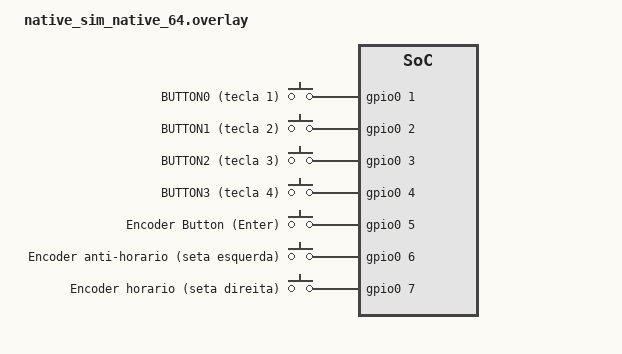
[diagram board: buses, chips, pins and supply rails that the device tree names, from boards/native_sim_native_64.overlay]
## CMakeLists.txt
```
# Aplicação Vitrolinha.
#
# Compilar:  scripts/build.sh
#     ou:    west build -b zbook@p2/rp2350b/m33

cmake_minimum_required(VERSION 3.20.0)

# ----------------------------------------------------------------------------
# Alvos de compilação suportados.
#
# Dois, de propósito:
#
#   zbook@p2/rp2350b/m33   a placa
#   native_sim             o simulador, com OLED em janela SDL e botões no
#                          teclado, para as trilhas de interface e de
#                          armazenamento não ficarem na fila do hardware
#
# A ZBook exige o sufixo @p2, e essa é a armadilha central do projeto: o
# board.yml declara `default: p2`, mas o campo é ignorado em placas de formato
# `custom` e o revision.cmake recai em `p1`. Um binário para P1 sai sem
# encoder, sem display e com conflitos de pino — e, num projeto sem overlay
# próprio, sairia sem erro nenhum.
#
# A verificação é feita duas vezes:
#
#  - Aqui, antes do find_package, sobre a string do alvo. É o único ponto em
#    que ainda dá para emitir mensagem útil: o overlay da placa referencia nós
#    que só existem no P2, e um alvo errado morreria lá dentro com erro de dtc
#    sobre rótulo inexistente.
#  - Abaixo, depois do find_package, sobre BOARD_REVISION já interpretada.
#
# Em src/board_zbook.h há ainda uma terceira, por BUILD_ASSERT.
# ----------------------------------------------------------------------------
set(vitrolinha_board_hint "${BOARD}")
if(NOT vitrolinha_board_hint)
  set(vitrolinha_board_hint "$ENV{BOARD}")
endif()

if(vitrolinha_board_hint
   AND NOT "${vitrolinha_board_hint}" MATCHES "^zbook@p2(/|$)"
   AND NOT "${vitrolinha_board_hint}" STREQUAL "native_sim/native/64")
  message(FATAL_ERROR
    "Alvo inválido: '${vitrolinha_board_hint}'.\n"
    "O Vitrolinha compila para dois alvos, e só para estes dois:\n"
    "    west build -b zbook@p2/rp2350b/m33   (a placa)\n"
    "    west build -b native_sim/native/64   (o simulador)\n"
    "\n"
    "Na ZBook, o sufixo @p2 é obrigatório: sem ele o encoder, o display e o "
    "card-detect não existem no devicetree, e o board.yml da placa não supre "
    "o padrão.\n"
    "\n"
    "No simulador, a variante /native/64 também é obrigatória, por dois "
    "motivos: o nome dos arquivos em boards/ tem de casar com a string de "
    "build, e o native_sim de 32 bits exigiria a SDL em i386.")
endif()

# ----------------------------------------------------------------------------
# O app.overlay vale para os dois alvos.
#
# Sem esta linha ele nunca seria lido: quando existe boards/<alvo>.overlay, o
# build usa a sobreposição da placa OU o app.overlay, nunca os dois — e os
# dois alvos têm a sua. O que é comum aos dois, como a ponte entre o
# subsistema `input` e o encoder do LVGL, sumiria sem erro nenhum.
# ----------------------------------------------------------------------------
list(APPEND EXTRA_DTC_OVERLAY_FILE ${CMAKE_CURRENT_SOURCE_DIR}/app.overlay)

find_package(Zephyr REQUIRED HINTS $ENV{ZEPHYR_BASE})

# A versão não fica aqui: o Zephyr a lê do arquivo VERSION na raiz e gera
# <app_version.h>, que é como o firmware a imprime no console. Declará-la
# também em project() criaria duas fontes para o mesmo número.
project(vitrolinha
        DESCRIPTION "Tocador de músicas embarcado sobre Zephyr RTOS"
        LANGUAGES C)

if("${BOARD}" STREQUAL "zbook" AND NOT "${BOARD_REVISION}" STREQUAL "p2")
  message(FATAL_ERROR
    "Revisão de placa inválida: BOARD_REVISION='${BOARD_REVISION}'.\n"
    "Compile com: west build -b zbook@p2/rp2350b/m33")
endif()

# Módulos do projeto. A lista de fontes e o diretório de cabeçalhos moram em
# src/CMakeLists.txt, de onde os testes unitários também os consomem.
add_subdirectory(src)

# O ponto de entrada fica de fora daquela lista: os testes trazem os módulos
# sem trazer um segundo main().
target_sources(app PRIVATE src/main.c)
```

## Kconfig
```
# Kconfig da aplicação: as opções do projeto e, depois delas, as do Zephyr.

rsource "Kconfig.vitrolinha"

source "Kconfig.zephyr"
```

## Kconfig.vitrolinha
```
# Opções próprias do Vitrolinha.
#
# Separadas do Kconfig da raiz para que os testes possam incluí-las sem
# incluir uma segunda vez o Kconfig.zephyr: o teste que precisa de uma opção
# daqui tem um Kconfig de duas linhas que faz `rsource` deste arquivo.

menu "Vitrolinha"

choice VITROLINHA_STORAGE
	prompt "Origem da biblioteca"
	default VITROLINHA_STORAGE_FAKE if BOARD_NATIVE_SIM
	default VITROLINHA_STORAGE_CARD
	help
	  Quem responde ao contrato de include/vitrolinha/storage.h.

	  Na placa é o cartão. No simulador é a implementação de mentira: lá
	  não há disco registrado, o cartão é sempre "ausente", e sem as faixas
	  embutidas as trilhas de áudio e de interface ficariam sem biblioteca
	  para tocar e desenhar.

config VITROLINHA_STORAGE_CARD
	bool "Cartao microSD"
	depends on FAT_FILESYSTEM_ELM
	help
	  Varre as faixas da raiz do volume montado pelo módulo card: RTTTL
	  em .TXT, .RTX e .RTT, e CSV em .CSV. O nome exibido do RTTTL sai
	  do cabeçalho; o do CSV é o do arquivo, sem a extensão. Ver
	  src/storage.c.

config VITROLINHA_STORAGE_FAKE
	bool "Faixas embutidas no binario (implementacao de mentira)"
	help
	  Duas faixas RTTTL embutidas, sem cartão e sem sistema de arquivos.
	  Ver src/storage_fake.c.

config VITROLINHA_STORAGE_HOST
	bool "Faixas de uma pasta do computador"
	depends on BOARD_NATIVE_SIM && EXTERNAL_LIBC
	help
	  Lista as faixas da pasta em VITROLINHA_MUSIC_DIR, ou de
	  fixtures/music relativo ao diretório de execução, pela libc do
	  computador. Só existe no simulador. Ver src/storage_host.c.

endchoice

config VITROLINHA_TRANSPOSE_MIN_HZ
	int "Limiar da transposição por oitavas, em Hz (0 desliga)"
	range 0 20000
	default 0
	help
	  Um piezo é fraco abaixo de algumas centenas de hertz: as notas
	  graves saem mais baixas, e a melodia, com volume irregular. Com o
	  limiar ligado, o parser RTTTL sobe a faixa inteira em oitavas
	  completas até a nota mais grave alcançá-lo, preservando os
	  intervalos, e sem que a mais aguda passe do que o buzzer toca.

	  Desligado até a etapa E1 medir a resposta do piezo da placa: o
	  limiar sai dessa medição, e não de estimativa. O CSV nunca é
	  transposto, porque o arquivo de calibração tem de tocar o que diz.

config VITROLINHA_PLAYER
	bool
	default y
	depends on POLL
	depends on PWM || (BOARD_NATIVE_SIM && EXTERNAL_LIBC)
	help
	  Liga o player e o loader. Sem prompt: é ligado sozinho onde os
	  dois podem existir, e é a única condição que decide isso — o
	  src/CMakeLists.txt compila player.c e loader.c por ela, e o
	  src/main.c põe a reprodução de pé por ela.

	  Exige uma saída de tom: o PWM (na placa, o buzzer; em
	  tests/tone_pwm/, o PWM de mentira do Zephyr) ou, no simulador com
	  a libc do computador, a captura em memória do tone_trace. Exige
	  também `CONFIG_POLL`: o player espera comando e resultado de carga
	  num mesmo `k_poll`.

	  Um teste só a enxerga se o Kconfig dele fizer `rsource` deste
	  arquivo; sem isso o player fica fora do build dele.

config VITROLINHA_DISPLAY_FPS_TEST
	bool "Teste de desempenho do display no lugar da interface"
	depends on LVGL
	help
	  Troca as duas telas por uma demonstração que invalida a tela
	  inteira a cada 100 ms e registra no log a taxa de flushes por
	  segundo. Mede o pior caso do barramento I2C do OLED, o quadro
	  cheio de 1024 bytes, e não o desenho por região suja da interface
	  de verdade.

	  Só para bancada: com a opção ligada não há biblioteca nem
	  reprodução na tela. Ver src/display_fps_test.c.

	  Ligar sem editar arquivo nenhum:
	  scripts/build.sh --pristine -- -DCONFIG_VITROLINHA_DISPLAY_FPS_TEST=y

config VITROLINHA_AUTO_ADVANCE
	bool "Avanco automatico para a faixa seguinte (RF09)"
	default y
	help
	  No fim da faixa, em vez de parar, o player carrega a faixa
	  seguinte da biblioteca, pulando as marcadas com `!`.

	  O avanço segue a ordem da lista e para na última faixa válida: não
	  dá a volta. Com uma única faixa válida, ela toca uma vez e para.
	  Com o cartão fora não há vizinha, e a faixa em RAM termina e para.

	  Quem detecta o fim é o callback do temporizador, em interrupção;
	  ele só sinaliza, e quem pede a carga é a thread `player`. Ver
	  src/player.c.

config VITROLINHA_LAST_TRACK
	bool "Lembrar a ultima faixa entre reinicializacoes (RF10)"
	depends on SETTINGS
	default y
	help
	  Grava a última faixa escolhida pelo subsistema `settings`, na
	  flash interna — nunca no cartão, cujo caminho de escrita no
	  sdhc_spi tem um laço de espera sem teto. No boot, com a biblioteca
	  pronta, a faixa volta como seleção, sem tocar.

	  A gravação mora numa thread de prioridade mínima, com debounce, e
	  só acontece com o player fora de PLAYER_PLAYING: no RP2350 o
	  driver de flash trava as interrupções durante a escrita, o que
	  atrasaria a próxima nota. Ver src/last_track.c.

config VITROLINHA_STATUS_LED
	bool "Estado da reproducao nos LEDs RGB (RF11)"
	depends on LED_STRIP
	default y if $(dt_alias_enabled,led-strip)
	help
	  Pinta a fita do alias `led-strip` — na ZBook P2, os quatro WS2812
	  do GPIO 31, via PIO1 — com o estado do instantâneo: verde tocando,
	  âmbar pausado, vermelho com erro de carga ou sem biblioteca, e
	  apagado parado. Lê o instantâneo a taxa fixa numa thread de baixa
	  prioridade; nada no callback do temporizador. Ver src/status_led.c.

endmenu
```

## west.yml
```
# Manifesto west do Vitrolinha (topologia T2: este repositório é o manifesto).
#
# Layout resultante do workspace:
#
#   vitrolinha-ws/          <- topdir do west
#   ├── .west/
#   ├── vitrolinha/         <- este repositório
#   ├── zephyr/
#   └── modules/
#
# Montagem numa máquina limpa: ver README.md.

manifest:
  self:
    path: vitrolinha

  remotes:
    - name: upstream
      url-base: https://github.com/zephyrproject-rtos
    - name: zephyr-book
      url-base: https://github.com/zephyr-book

  projects:
    # Revisão fixada numa tag, não em `main`: o mesmo commit deste repositório
    # tem de reproduzir o mesmo binário daqui a seis meses.
    - name: zephyr
      remote: upstream
      revision: v4.4.2
      import:
        # Sem a lista, o `west update` baixa ~90 módulos (vários GB). Aqui
        # ficam só os que este alvo realmente usa.
        name-allowlist:
          # HAL do RP2350B. `CONFIG_PWM_RPI_PICO` faz `select PICOSDK_USE_PWM`,
          # que vem daqui.
          - hal_rpi_pico
          # CMSIS 6 é o que `modules/cmsis_6/CMakeLists.txt` compila para
          # `CONFIG_CPU_CORTEX_M`; o módulo `cmsis` (5) só atende Cortex-A/R.
          - cmsis_6
          # Biblioteca C padrão do Zephyr 4.x.
          - picolibc
          # Interface gráfica no OLED.
          - lvgl
          # Obrigatório mesmo sem cartão: o defconfig da placa liga
          # CONFIG_FAT_FILESYSTEM_ELM incondicionalmente.
          - fatfs
          # Referenciado pelo nó `zephyr,fstab` da placa.
          - littlefs

    # Placa fora da árvore. O `zephyr/module.yml` dela define board_root e
    # snippet_root, então o alvo zbook@p2/rp2350b/m33 é descoberto sozinho —
    # não é preciso passar BOARD_ROOT.
    - name: zbook
      remote: zephyr-book
      revision: main
      path: modules/boards/zbook
```

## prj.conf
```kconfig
# Configuração comum aos dois alvos de compilação.
#
# O que é específico de cada um mora em boards/: a ZBook P2 em
# boards/zbook_rp2350b_m33_p2.conf, o simulador em
# boards/native_sim_native_64.conf. Aqui fica o que vale para os dois — a interface gráfica, a temporização e
# o diagnóstico, que são justamente as partes que se quer poder exercitar
# sem a placa.
#
# Uma opção deste arquivo quebra o projeto EM SILÊNCIO se omitida; está
# marcada com "SILENCIOSO" no comentário.

# ----------------------------------------------------------------------------
# Entrada e saída comuns
# ----------------------------------------------------------------------------
CONFIG_INPUT=y
CONFIG_INPUT_GPIO_KEYS=y

CONFIG_DISPLAY=y

# ----------------------------------------------------------------------------
# Cartão e sistema de arquivos
# ----------------------------------------------------------------------------

# A pilha de disco vem do defconfig da ZBook, mas não do simulador. Declarada
# aqui porque o módulo `card` monta o mesmo volume "SD" nos dois alvos, com o
# mesmo código — o que difere é de onde o disco aparece, e isso está em
# boards/.
CONFIG_DISK_ACCESS=y
CONFIG_FILE_SYSTEM=y
CONFIG_FAT_FILESYSTEM_ELM=y

# SILENCIOSO E DESTRUTIVO: o padrão do Zephyr é `y`. Com ele ligado, um cartão
# que não monta é FORMATADO pelo próprio `fs_mount` — "Note: This option is
# destructive to data and will automatically destroy your disk, if mount
# attempt fails", diz o texto de ajuda da própria opção. Um cartão com a
# partição levemente danificada entraria na placa com a biblioteca do usuário
# e sairia vazio, sem erro nenhum.
#
# A aplicação nunca formata cartão: a biblioteca é do usuário. O módulo `card`
# ainda passa FS_MOUNT_FLAG_NO_FORMAT na montagem, para que religar esta opção
# por engano não rearme a bomba.
CONFIG_FS_FATFS_MOUNT_MKFS=n

# O padrão de 4 é pré-alocado estaticamente. Só o `storage` toca no sistema
# de arquivos, e nunca em mais de um arquivo por vez.
CONFIG_FS_FATFS_NUM_FILES=2
CONFIG_FS_FATFS_NUM_DIRS=2

# CONFIG_FS_FATFS_LFN fica desligado de propósito: o nome exibido sai do
# cabeçalho RTTTL (o CSV fica com o 8.3 do arquivo), e nomes longos
# custariam RAM estática para sempre. Isso também dispensa decidir entre LFN_MODE_BSS
# e reentrância — e sem reentrância o FF_FS_TIMEOUT do FatFs deixa de ser
# K_FOREVER.

# ----------------------------------------------------------------------------
# A última faixa lembrada (RF10)
# ----------------------------------------------------------------------------

# Settings com NVS na partição `storage` da flash interna — nunca no cartão.
# Na ZBook é a `zephyr,settings-partition` que a placa já declara (256 KB no
# fim dos 2 MB); no simulador, a `storage_partition` da flash simulada, que
# o native_sim guarda no arquivo flash.bin (ou no de `--flash=<arquivo>`), e
# é isso que faz a faixa sobreviver a um reinício do processo.
#
# Quem grava é src/last_track.c, fora da reprodução: no RP2350 a escrita na
# flash trava as interrupções.
CONFIG_FLASH=y
CONFIG_FLASH_MAP=y
CONFIG_NVS=y
CONFIG_SETTINGS=y
CONFIG_SETTINGS_NVS=y

# ----------------------------------------------------------------------------
# Temporização
# ----------------------------------------------------------------------------

# 50 us de quantização, de graça sob tickless. Não subir para 100 kHz: nesse
# ponto o ciclo por tick iguala o atraso mínimo do SysTick e o driver pode
# expirar em dobro.
CONFIG_SYS_CLOCK_TICKS_PER_SEC=20000

# ----------------------------------------------------------------------------
# Interface gráfica
# ----------------------------------------------------------------------------
CONFIG_LVGL=y
CONFIG_LV_COLOR_DEPTH_1=y

# SILENCIOSO: sem o buffer de conversão, o caminho monocromático não é
# registrado e a inicialização do display devolve -ENOTSUP.
CONFIG_LV_Z_MONOCHROME_CONVERSION_BUFFER=y

CONFIG_LV_Z_COLOR_MONO_HW_INVERSION=y

# Quadro inteiro: 128x64 a 1 bpp são 1024 B, ~2 KB com o buffer de conversão.
# Renderização parcial seria economia sem propósito nesse tamanho.
CONFIG_LV_Z_VDB_SIZE=100

# O padrão de 2048 B não sustenta as duas telas. Com a lista virtual o uso
# não depende do tamanho da biblioteca: 8,2 KB medidos na placa com
# `lvgl stats memory`. Redimensionar por medição, não por estimativa.
CONFIG_LV_Z_MEM_POOL_SIZE=24576

# O laço do LVGL roda numa fila de trabalho dedicada, em vez de num laço que
# a aplicação escreveria. Precisa estar ligado explicitamente: o padrão é n, e
# a prioridade abaixo só existe dentro deste `if`.
CONFIG_LV_Z_RUN_LVGL_ON_WORKQUEUE=y

# SILENCIOSO: o padrão é 0, a maior prioridade preemptível. Deixado assim, o
# laço do LVGL sobrepuja qualquer thread do player — o inverso exato da
# arquitetura pretendida, sem erro nenhum. É a configuração que, omitida,
# invalida a tese do trabalho.
#
# O valor é espelhado por PRIORITY_LVGL em src/priorities.h, onde está a ordem
# de todas as threads; um BUILD_ASSERT de lá reprova o build se os dois
# divergirem.
CONFIG_LV_Z_LVGL_WORKQUEUE_PRIORITY=10

# Grade exata de 16 colunas por 8 linhas na tela de 128x64.
CONFIG_LV_FONT_UNSCII_8=y
CONFIG_LV_FONT_DEFAULT_UNSCII_8=y

# `lvgl stats memory`, para dimensionar o pool acima por medição. Depende de
# CONFIG_SHELL, que não vem do defconfig da placa.
CONFIG_SHELL=y
CONFIG_LV_Z_SHELL=y

# `input report <tipo> <codigo> <valor>`: injeta pelo console o mesmo evento
# que o encoder gera, para reproduzir giros e cliques na bancada sem mão na
# placa. Clique: `input report 1 28 1` e `input report 1 28 0`
# (EV_KEY, KEY_ENTER). Giro: `input report 2 8 1` (EV_REL, REL_WHEEL).
CONFIG_INPUT_SHELL=y

# ----------------------------------------------------------------------------
# Diagnóstico e robustez
# ----------------------------------------------------------------------------

# Vem do defconfig da ZBook, mas não do simulador: sem declarar aqui, todo
# LOG_* compila para nada no alvo simulado e o firmware fica mudo sem
# nenhum aviso.
CONFIG_LOG=y

# Log diferido: em modo imediato a formatação acontece na thread que chamou
# LOG_*, o que poria trabalho de E/S serial dentro de caminhos que precisam
# ser curtos. Diferido é o padrão do Zephyr, declarado aqui porque o projeto
# depende disso e não de um padrão.
CONFIG_LOG_MODE_DEFERRED=y

# Nomes nas threads, senão o relatório do analisador vira uma lista de
# endereços.
CONFIG_THREAD_NAME=y

# O padrão é 1024 B, e o `main` de bring-up faz a primeira montagem do
# cartão, duas varreduras da biblioteca e a montagem da tela. Era a aposta
# de pilha apertada em docs/medicoes/pilhas-por-thread.md. 4096 B é teto
# provisório, não medição: ajustar pela marca d'água do analisador.
CONFIG_MAIN_STACK_SIZE=4096

# Violação de pré-condição de API do kernel para de passar batida. Custa
# tamanho de código; sai quando o firmware for para demonstração final.
CONFIG_ASSERT=y
```

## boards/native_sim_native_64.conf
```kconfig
# Configuração específica do alvo de simulação.
#
# Reproduz o OLED e as entradas da ZBook no desktop, para que as trilhas de
# interface e de armazenamento não fiquem na fila da placa física. O comum
# aos dois alvos está em prj.conf.
#
# O que NÃO é reproduzido aqui: o áudio. Não existe PWM emulado no Zephyr, e
# ouvir a melodia continua exigindo hardware.

# ----------------------------------------------------------------------------
# A tela
# ----------------------------------------------------------------------------

# Mono de 1 bit, com o zero representando preto — a mesma convenção do
# SSD1306, em que o bit ligado acende o pixel. Com isso o LVGL usa o mesmo
# caminho de código monocromático dos dois lados, incluindo o buffer de
# conversão e o arredondamento de área para múltiplos de 8 em Y.
CONFIG_SDL_DISPLAY_DEFAULT_PIXEL_FORMAT_MONO01=y

# 128x64 numa tela de desktop é um selo. Quadruplicar mantém a proporção e
# a grade de pixels visível, que é o que se quer conferir numa interface
# desenhada para 1 bpp.
CONFIG_SDL_DISPLAY_ZOOM_PCT=400

# ----------------------------------------------------------------------------
# As entradas
# ----------------------------------------------------------------------------

# Teclado do host acionando os pinos de GPIO emulados declarados em
# boards/native_sim_native_64.overlay. Os drivers que ficam acima —
# gpio-keys e o subsistema input — são os mesmos da placa.
CONFIG_GPIO_EMUL_SDL=y

# ----------------------------------------------------------------------------
# O cartão
# ----------------------------------------------------------------------------

# Não há cartão aqui, e é de propósito: o módulo `card` roda igual nos dois
# alvos e conclui "ausente" quando nenhum disco de nome "SD" está registrado.
# O que precisa ser dito ao FatFs é só o nome do volume.
#
# O FatFs do Zephyr monta a lista de volumes a partir do DEVICETREE — o
# FF_VOLUME_STRS sai da varredura dos nós `zephyr,sdmmc-disk` e afins, em
# zephyr/modules/fatfs/zephyr_fatfs_config.h. No simulador não existe nó
# nenhum desses, e sem a lista o FF_VOLUMES ficaria sem valor válido e o
# módulo não compilaria. Estas duas opções são a saída oficial: a lista vem
# por Kconfig.
#
# O nome é o mesmo `disk-name` do nó `sdhc0` da ZBook, para que o ponto de
# montagem seja idêntico nos dois alvos — é o CARD_DISK_NAME do módulo `card`,
# de onde sai o CARD_MOUNT_POINT.
#
# Inserção e remoção de verdade são exercitadas em tests/card/, com um disco
# controlado pelo próprio teste.
CONFIG_FS_FATFS_CUSTOM_MOUNT_POINT_COUNT=1
CONFIG_FS_FATFS_CUSTOM_MOUNT_POINTS="SD"

# ----------------------------------------------------------------------------
# O player
# ----------------------------------------------------------------------------

# O player espera comando e resultado de carga num mesmo `k_poll`. Sem a
# opção, CONFIG_VITROLINHA_PLAYER fica desligada e player e loader ficam fora
# do simulador.
CONFIG_POLL=y

# A biblioteca vem das faixas de fixtures/music, RTTTL e CSV, e não das duas
# faixas embutidas da implementação de mentira: é com ela que a tela, o
# player e a captura se exercitam juntos aqui. A pasta é relativa ao diretório de execução, ou a de
# VITROLINHA_MUSIC_DIR; scripts/sim.sh já aponta para ela.
CONFIG_VITROLINHA_STORAGE_HOST=y

# ----------------------------------------------------------------------------
# Console
# ----------------------------------------------------------------------------

# Sem isto o console vai para um pseudo-terminal e é preciso abrir um segundo
# terminal para vê-lo. Assim o relatório de bring-up e o shell saem no mesmo
# terminal que lançou o executável, ao lado da janela da tela.
CONFIG_UART_NATIVE_PTY_0_ON_STDINOUT=y
```

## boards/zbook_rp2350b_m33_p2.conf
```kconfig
# Configuração específica da ZBook P2.
#
# O defconfig da placa já traz GPIO, I2C, SPI, ADC, SERIAL, PINCTRL,
# CLOCK_CONTROL, LOG, FPU, LED_STRIP, SDHC, DISK_ACCESS, DISK_DRIVERS,
# FILE_SYSTEM e FAT_FILESYSTEM_ELM. Aqui fica o que falta e o que só existe
# nesta placa. O comum aos dois alvos está em prj.conf.

# ----------------------------------------------------------------------------
# Periféricos da placa
# ----------------------------------------------------------------------------
CONFIG_PWM=y
CONFIG_PWM_RPI_PICO=y

# O player espera comando e resultado de carga num mesmo `k_poll`. Sem a
# opção, src/CMakeLists.txt deixa player e loader fora da placa, e o clique
# na biblioteca não toca nada.
CONFIG_POLL=y

# Decodificador de quadratura do encoder PEC12R. No simulador não existe: as
# setas do teclado viram INPUT_REL_WHEEL em src/sim_encoder.c.
CONFIG_INPUT_GPIO_QDEC=y

# O painel é um SSD1306, não um SH1106. Descrito como SH1106 ele confirma no
# I²C e aceita tudo, mas a bomba de carga não liga e a tela fica preta.
CONFIG_SSD1306=y

# O I²C do RP2350 é o DesignWare, e o driver calcula os tempos do SCL a partir
# desta constante, em MHz — não do relógio declarado no devicetree. O
# periférico roda em clk_sys, 150 MHz, como o rpi_pico2 do Zephyr declara; a
# ZBook, fora da árvore, não declara, e o padrão do driver é 32. Com 32 o
# barramento pedido a 400 kHz saía perto de 2,2 MHz, fora do que o SSD1306
# garante: a tela corrompia pixels de vez em quando, sobretudo ao rolar a
# lista, que redesenha várias linhas seguidas. Com 150 sai perto de 580 kHz,
# pelas constantes de modo rápido do driver — o mesmo que o rpi_pico2 entrega.
CONFIG_I2C_DW_CLOCK_SPEED=150

# ----------------------------------------------------------------------------
# Cartão
# ----------------------------------------------------------------------------
#
# O sistema de arquivos em si é comum aos dois alvos e está em prj.conf. Aqui
# fica só o que existe quando há um cartão SD de verdade do outro lado.

# Os padrões são 10000 ms vezes 3 tentativas, o que faria um único fs_read
# bloquear por dezenas de segundos com o cartão removido. É este corte que
# limita também a espera do `fs_unmount` na remoção a quente: o
# `sdmmc_wait_ready` do caminho de desmontagem tem por teto justamente o
# SD_DATA_TIMEOUT.
CONFIG_SD_DATA_TIMEOUT=500
CONFIG_SD_DATA_RETRIES=1

# CONFIG_SD_INIT_TIMEOUT fica no padrão de 1500 ms, e não cortado como os de
# cima. É o prazo que a especificação física do SD dá ao cartão para concluir
# a inicialização (1 s para o ACMD41, mais folga); encurtá-lo trocaria uma
# espera rara por rejeitar cartões legítimos. O preço é que uma tentativa de
# montagem pode custar 1,5 s — e é por isso que ela mora numa thread de
# prioridade baixa (PRIORITY_CARD_MONITOR, em src/priorities.h), e não na fila
# de trabalho do sistema.

# ----------------------------------------------------------------------------
# Robustez
# ----------------------------------------------------------------------------

# MPU do Cortex-M33 guardando o fim de cada pilha: estouro vira exceção com
# a thread culpada identificada, em vez de corrupção silenciosa de memória
# vizinha.
CONFIG_HW_STACK_PROTECTION=y

# ----------------------------------------------------------------------------
# Diagnóstico que depende da arquitetura
# ----------------------------------------------------------------------------

# Consumo de pilha por thread: critério de avaliação do trabalho (issue #13).
# Mora aqui e não em prj.conf porque o analisador depende de !ARCH_POSIX: no
# simulador ele não existe. O relatório vira tabela com
# scripts/stack_report.py; o método e as folgas estão em
# docs/medicoes/pilhas-por-thread.md.
CONFIG_THREAD_ANALYZER=y

# Relatório periódico, sem código na aplicação. O intervalo fica no padrão de
# 60 s: o analisador mede marca d'água, que só sobe, então o intervalo decide
# apenas quando o pico aparece no console, não se ele aparece. Para ler na
# hora, o shell tem `kernel thread stacks` e `kernel thread list`.
CONFIG_THREAD_ANALYZER_AUTO=y

# SILENCIOSO: a prioridade padrão da thread do analisador é 0, a maior
# preemptível — a mesma armadilha do workqueue do LVGL. Uma varredura de
# todas as pilhas, palavra por palavra, passaria na frente do `player`.
CONFIG_THREAD_ANALYZER_AUTO_THREAD_PRIORITY_OVERRIDE=y
CONFIG_THREAD_ANALYZER_AUTO_THREAD_PRIORITY=10

# Já é o padrão, declarado porque o projeto depende disso: com ele desligado a
# varredura percorre as threads com interrupções TRAVADAS, e o tick que
# dispara a próxima nota esperaria a leitura de todas as pilhas.
CONFIG_THREAD_ANALYZER_RUN_UNLOCKED=y

# Também o padrão, e também declarado: o callback do k_timer que dispara cada
# nota roda na pilha de interrupção, e ela é a única que nenhuma thread mede.
CONFIG_THREAD_ANALYZER_ISR_STACK_USAGE=y

# Com CONFIG_LOG_PRINTK, o printk do analisador passa pelo log diferido, e a
# thread do analisador (10) escreve o bloco inteiro antes de a de log (14)
# rodar: todas as linhas têm de caber no buffer ao mesmo tempo. Com o padrão
# de 1024 B, as ~13 linhas de hoje, de ~70-80 B cada, já encostam no teto —
# estimativa, não observação —, e cada thread nova acrescenta uma. O
# LOG_MODE_OVERFLOW descarta as MAIS ANTIGAS, isto é, o começo do relatório.
# 3 KB a mais de RAM estática, em 520 KB. Se ainda assim transbordar, o
# console mostra "messages dropped" e o scripts/stack_report.py avisa.
CONFIG_LOG_BUFFER_SIZE=4096
```

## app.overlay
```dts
/*
 * Sobreposição comum aos dois alvos de compilação.
 *
 * O que é específico de cada um mora em boards/: a ZBook P2 em
 * boards/zbook_rp2350b_m33_p2.overlay, o simulador em
 * boards/native_sim_native_64.overlay. Aqui fica só o que vale para os dois
 * — hoje, a ponte entre o subsistema `input` e o dispositivo de entrada do
 * LVGL, que é idêntica nos dois porque ambos entregam os mesmos códigos de
 * evento.
 *
 * Quem aplica este arquivo é o CMakeLists.txt da raiz, por
 * EXTRA_DTC_OVERLAY_FILE. Por padrão o Zephyr o ignoraria, porque os dois
 * alvos têm sobreposição própria em boards/.
 *
 * SPDX-License-Identifier: Apache-2.0
 */

#include <zephyr/dt-bindings/input/input-event-codes.h>

/ {
	/*
	 * Ponte declarativa entre o subsistema `input` do Zephyr e o
	 * dispositivo de entrada do LVGL.
	 *
	 * Sem a propriedade `input`, o nó assina todos os dispositivos de
	 * entrada e guarda apenas os dois códigos declarados aqui, ignorando
	 * os quatro botões de transporte. É exatamente a divisão desejada:
	 * encoder para o grupo de foco do LVGL, botões para a fila de
	 * comandos própria.
	 *
	 * Atenção: isto cria o indev, não o grupo de foco. Criar o grupo e
	 * amarrá-lo ao indev é da aplicação (src/display_ui.c) — sem isso o encoder
	 * gera eventos, o LVGL os recebe, e nada se move na tela.
	 */
	lvgl_encoder_input: lvgl_encoder_input {
		compatible = "zephyr,lvgl-encoder-input";
		rotation-input-code = <INPUT_REL_WHEEL>;
		button-input-code = <INPUT_KEY_ENTER>;
	};
};
```

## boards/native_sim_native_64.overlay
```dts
/*
 * Sobreposição de devicetree do alvo de simulação.
 *
 * Reproduz a ZBook no desktop com os periféricos emulados do Zephyr, para que
 * as trilhas de interface e de armazenamento não fiquem na fila da placa
 * física. O que não é reproduzível aqui é o áudio: não existe PWM emulado no
 * Zephyr, e o buzzer continua exigindo hardware.
 *
 * SPDX-License-Identifier: Apache-2.0
 */

#include <zephyr/dt-bindings/input/input-event-codes.h>
#include <zephyr/dt-bindings/lvgl/lvgl.h>

/*
 * A tela, no tamanho real do OLED.
 *
 * O driver SDL é configurado em mono 1 bpp com tiling vertical (ver
 * boards/native_sim_native_64.conf), que é o mesmo formato que o SSD1306
 * reporta. O LVGL passa pelo mesmo caminho de código nos dois alvos —
 * inclusive pelo arredondamento de área para múltiplos de 8 em Y.
 */
&sdl_dc {
	width = <128>;
	height = <64>;
};

/*
 * Teclado do host acionando pinos de GPIO emulados.
 *
 * O nó tem de ser filho do controlador `zephyr,gpio-emul` — o driver
 * verifica isso com BUILD_ASSERT, então declará-lo na raiz não compila.
 *
 * O índice do vetor é o número do pino, e o valor é o scancode HID da tecla.
 * O pino 0 fica com o scancode 0 ("no event") porque já é o led0 do
 * native_sim, que o sinal de vida usa.
 *
 * Limitação do driver: só ativo-alto, porque não há evento para tecla solta.
 * Por isso os botões aqui são GPIO_ACTIVE_HIGH, ao contrário dos da placa. A
 * diferença morre no devicetree — o `input_gpio_keys` normaliza, e quem
 * consome os eventos não distingue.
 */
&gpio0 {
	gpio_emul_sdl: gpio_emul_sdl {
		compatible = "zephyr,gpio-emul-sdl";
		scancodes = <0>,   /* pino 0 — led0, sinal de vida */
			    <30>,  /* pino 1 — tecla 1 */
			    <31>,  /* pino 2 — tecla 2 */
			    <32>,  /* pino 3 — tecla 3 */
			    <33>,  /* pino 4 — tecla 4 */
			    <40>,  /* pino 5 — Enter */
			    <80>,  /* pino 6 — seta esquerda */
			    <79>;  /* pino 7 — seta direita */
	};
};

/ {
	/*
	 * Botões de transporte.
	 *
	 * A ordem é a da placa, da esquerda para a direita: as teclas 1 a 4 são
	 * os botões 1 a 4 — anterior, tocar/pausar, seguinte e alternar telas.
	 */
	buttons {
		compatible = "gpio-keys";
		debounce-interval-ms = <20>;

		sim_button0: button0 {
			zephyr,code = <INPUT_BTN_0>;
			gpios = <&gpio0 1 GPIO_ACTIVE_HIGH>;
			label = "BUTTON0 (tecla 1)";
		};

		sim_button1: button1 {
			zephyr,code = <INPUT_BTN_1>;
			gpios = <&gpio0 2 GPIO_ACTIVE_HIGH>;
			label = "BUTTON1 (tecla 2)";
		};

		sim_button2: button2 {
			zephyr,code = <INPUT_BTN_2>;
			gpios = <&gpio0 3 GPIO_ACTIVE_HIGH>;
			label = "BUTTON2 (tecla 3)";
		};

		sim_button3: button3 {
			zephyr,code = <INPUT_BTN_3>;
			gpios = <&gpio0 4 GPIO_ACTIVE_HIGH>;
			label = "BUTTON3 (tecla 4)";
		};
	};

	/*
	 * Clique e rotação do encoder.
	 *
	 * O clique é direto: mesmo código da placa, mesmo driver. Já a
	 * rotação não pode passar pelo `gpio-qdec`, que espera quadratura A/B
	 * limpa — duas teclas não produzem isso. As setas viram teclas comuns
	 * aqui, e src/sim_encoder.c as converte em INPUT_REL_WHEEL, que é o
	 * que o indev do LVGL de fato consome.
	 */
	encoder: encoder {
		compatible = "gpio-keys";
		debounce-interval-ms = <20>;

		sim_enc_button: enc-button {
			zephyr,code = <INPUT_KEY_ENTER>;
			gpios = <&gpio0 5 GPIO_ACTIVE_HIGH>;
			label = "Encoder Button (Enter)";
		};

		sim_enc_ccw: enc-ccw {
			zephyr,code = <INPUT_KEY_LEFT>;
			gpios = <&gpio0 6 GPIO_ACTIVE_HIGH>;
			label = "Encoder anti-horario (seta esquerda)";
		};

		sim_enc_cw: enc-cw {
			zephyr,code = <INPUT_KEY_RIGHT>;
			gpios = <&gpio0 7 GPIO_ACTIVE_HIGH>;
			label = "Encoder horario (seta direita)";
		};
	};

	/*
	 * As setas e o Enter chegam ao LVGL como teclado. Quando este nó
	 * existe, src/display_ui.c o usa no lugar do `lvgl_encoder_input`.
	 */
	lvgl_keypad: lvgl_keypad {
		compatible = "zephyr,lvgl-keypad-input";

		input = <&encoder>;

		input-codes = <
			INPUT_KEY_LEFT
			INPUT_KEY_RIGHT
			INPUT_KEY_ENTER
		>;

		lvgl-codes = <
			LV_KEY_LEFT
			LV_KEY_RIGHT
			LV_KEY_ENTER
		>;
	};
};
```

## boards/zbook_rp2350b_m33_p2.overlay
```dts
/*
 * Sobreposição de devicetree da ZBook P2.
 *
 * Um arquivo em boards/ só é aplicado se o nome casar exatamente com a string
 * de build montada a partir de placa, qualificadores e revisão — e errar o
 * nome não gera erro, a sobreposição apenas não é aplicada. Aqui isso não é
 * risco silencioso: os BUILD_ASSERT em src/board_zbook.h conferem, em tempo
 * de compilação, que este arquivo foi mesmo aplicado.
 *
 * O que é comum aos dois alvos de compilação está em app.overlay.
 *
 * SPDX-License-Identifier: Apache-2.0
 */

#include <zephyr/dt-bindings/i2c/i2c.h>
#include <zephyr/dt-bindings/input/input-event-codes.h>

/*
 * Divisor automático no slice do buzzer.
 *
 * A placa fixa `divider-int-8 = <255>`, o que põe o driver em modo fixo: ele
 * não reescala o divisor por nota e, nesse caminho, não valida o limite de
 * 16 bits do registrador de wrap. Apagar a propriedade devolve o driver ao
 * modo automático, em que ele escolhe o divisor por potência de dois a cada
 * nota mantendo o contador acima de 32768.
 *
 * Ganho de afinação: com o divisor fixo o erro chega a ~6 cents na oitava 7 —
 * justamente onde a transposição para cima leva a melodia; em modo automático
 * fica em ~0,05 cent.
 *
 * A regra de derivar o período de pwm_get_cycles_per_sec() continua valendo
 * nos dois modos, e é ela que evita a armadilha de verdade.
 */
&pwm {
	/delete-property/ divider-int-8;
};

/*
 * I²C a 400 kHz.
 *
 * A placa deixa em 100 kHz, onde um quadro cheio de 128x64 a 1 bpp (1024 B)
 * custa ~92 ms no barramento — os 10 fps do plano não caberiam. A 400 kHz
 * cai para ~23 ms. O que sustenta a taxa mesmo é o desenho por região suja;
 * isto só tira o barramento do caminho crítico da troca de tela.
 */
&i2c0 {
	clock-frequency = <I2C_BITRATE_FAST>;
};

/*
 * Detecção de cartão ligada à pilha SD.
 *
 * O nó `sd_cd` existe na placa, mas nenhum driver o consome por padrão. Sem
 * `cd-gpios`, `sdhc_spi_get_card_present` devolve 1 incondicionalmente —
 * "SPI has no card presence method, assume card is in slot" — e o firmware
 * nunca descobre que não há cartão.
 *
 * GPIO 33 = gpio0_hi pino 1, ativo-baixo, com pull-up externo de 10k.
 */
&sdhc0 {
	cd-gpios = <&gpio0_hi 1 GPIO_ACTIVE_LOW>;
};

/*
 * Debounce explícito nos botões.
 *
 * A propriedade é do nó `gpio-keys` pai, não de cada filho, e o padrão
 * herdado do binding é 30 ms. Declarar 20 ms deixa o número no repositório
 * em vez de num arquivo de terceiros.
 *
 * O nó dos quatro botões de transporte está na raiz; o do clique do encoder
 * é filho de gpio0_hi e não tem rótulo, daí o caminho completo. Caminho que
 * não existir vira erro de compilação do devicetree, não omissão silenciosa.
 */
&{/buttons} {
	debounce-interval-ms = <20>;
};

&{/soc/gpio@40028000/gpio-port@1/encoder} {
	debounce-interval-ms = <20>;
};

/*
 * Ponte entre o subsistema `input` e o indev de encoder do LVGL.
 *
 * Repete a do app.overlay porque, com este arquivo presente, o app.overlay
 * não é aplicado: o build usa a sobreposição da placa OU a da aplicação,
 * nunca as duas. O rótulo é o mesmo, e é por ele que src/display.c acha o
 * indev para amarrar o grupo de foco.
 */
/ {
	lvgl_encoder_input: lvgl_encoder_input {
		compatible = "zephyr,lvgl-encoder-input";
		rotation-input-code = <INPUT_REL_WHEEL>;
		button-input-code = <INPUT_KEY_ENTER>;
	};
};
```

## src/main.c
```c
/**
 * @file main.c
 * @brief Ponto de entrada do Vitrolinha: põe os módulos de pé, na ordem.
 *
 * 1. O LED de sinal de vida.
 * 2. O cartão e a biblioteca: o monitor do cartão, a primeira varredura, e o
 *    observador que varre de novo a cada troca de cartão.
 * 3. A interface, que mostra a biblioteca.
 * 4. A reprodução: loader, saída de tom e player.
 * 5. As extensões da E7: a última faixa lembrada (RF10) e os LEDs de estado
 *    (RF11). O avanço automático (RF09) é do próprio player.
 *
 * Depois disso o `main` só pisca o LED: o trabalho está nas threads de cada
 * módulo.
 *
 * Compila para os dois alvos: a ZBook P2 e o simulador. O que difere entre
 * eles é devicetree e configuração, não código.
 */

#include <vitrolinha/card.h>
#include <vitrolinha/cmd.h>
#include <vitrolinha/display.h>
#include <vitrolinha/library.h>

#if defined(CONFIG_VITROLINHA_LAST_TRACK)
#include <vitrolinha/last_track.h>
#endif

#if defined(CONFIG_VITROLINHA_STATUS_LED)
#include <vitrolinha/status_led.h>
#endif

#include <app_version.h>

#include <zephyr/devicetree.h>
#include <zephyr/drivers/gpio.h>
#include <zephyr/kernel.h>
#include <zephyr/logging/log.h>

/*
 * O player só entra no build onde há saída para ele: na placa, o buzzer do
 * tone_pwm; no simulador, a captura em memória do tone_trace. Quem decide é
 * `CONFIG_VITROLINHA_PLAYER`, a mesma opção pela qual src/CMakeLists.txt
 * compila player e loader; sem ela, chamar player_init() não linkaria.
 *
 * A captura é aberta aqui onde src/CMakeLists.txt compila o playback_trace.
 */
#if defined(CONFIG_BOARD_NATIVE_SIM) && defined(CONFIG_EXTERNAL_LIBC)
#define VITROLINHA_HAS_TRACE 1
#include <vitrolinha/playback_trace.h>
#endif

#if defined(CONFIG_VITROLINHA_PLAYER)
#define VITROLINHA_HAS_PLAYER 1
#include <vitrolinha/loader.h>
#include <vitrolinha/player.h>
#include <vitrolinha/tone.h>
#endif

LOG_MODULE_REGISTER(vitrolinha, LOG_LEVEL_INF);

/*
 * Verificações de compilação da placa física. No alvo de simulação não há
 * encoder, display SSD1306 nem cartão para conferir — os periféricos
 * emulados são outros, e o overlay que os descreve é outro.
 */
#if defined(CONFIG_BOARD_ZBOOK)
#include "board_zbook.h"
#endif

/** @brief Período de meio piscar do LED de sinal de vida. */
#define HEARTBEAT_PERIOD K_MSEC(500)

/**
 * @brief LED de sinal de vida.
 *
 * Um dos quatro LEDs de GPIO puro. Um deles vai virar o pino de
 * instrumentação das medições de tempo (issue #23), já que a placa não tem
 * pino de header confirmado — daí valer a pena que o sinal de vida seja um
 * ponto único no código, fácil de mover.
 */
static const struct gpio_dt_spec heartbeat = GPIO_DT_SPEC_GET(DT_ALIAS(led0), gpios);

/**
 * @brief Prepara o LED de sinal de vida.
 *
 * @retval 0        LED pronto.
 * @retval -ENODEV  O controlador de GPIO não inicializou.
 * @retval outro    Erro devolvido por `gpio_pin_configure_dt`.
 */
static int heartbeat_init(void)
{
	int err;

	if (!gpio_is_ready_dt(&heartbeat)) {
		LOG_ERR("GPIO do LED de sinal de vida nao esta pronto");
		return -ENODEV;
	}

	err = gpio_pin_configure_dt(&heartbeat, GPIO_OUTPUT_INACTIVE);
	if (err != 0) {
		LOG_ERR("Nao consegui configurar o LED: %d", err);
		return err;
	}

	return 0;
}

/**
 * @brief Devolve a última faixa lembrada, uma vez por boot (RF10).
 *
 * Vale na primeira biblioteca pronta: no boot, se o cartão já leu, ou na
 * primeira inserção depois dele. O player recebe a faixa por ::CMD_CUE, que
 * ele só aceita enquanto não tem faixa nenhuma, e a tela põe o destaque
 * nela. Nada toca: tocar/pausar é que a toca.
 */
static void restore_last_track(void)
{
#if defined(CONFIG_VITROLINHA_LAST_TRACK)
	int track = last_track_restore();

	if (track >= 0) {
		LOG_INF("Ultima faixa restaurada: %d", track);
		(void)cmd_post(CMD_CUE, (int16_t)track);
		display_cue(track);
	}
#endif
}

/**
 * @brief Leva toda mudança de estado do cartão à biblioteca.
 *
 * Roda na thread do monitor do cartão, e varre ali mesmo: é a thread que já
 * bloqueia por natureza, e a única de prioridade baixa o bastante para isso
 * não atrasar ninguém (ADR 0010). A interface lê o resultado em
 * @ref library_state a cada quadro.
 *
 * @param state O estado novo do cartão.
 */
static void card_changed(enum card_state state)
{
	/* A transição o próprio módulo do cartão já registra no log. */
	ARG_UNUSED(state);

	(void)library_refresh();
	restore_last_track();
}

/**
 * @brief Monta o cartão, põe o monitor de presença de pé e varre a
 *        biblioteca.
 *
 * Ausência de cartão não é falha de inicialização: a placa continua ligando,
 * e o monitor passa a avisar se um cartão aparecer.
 */
static void card_start(void)
{
	int err;

	err = card_init();
	if (err != 0) {
		LOG_ERR("Monitor do cartao nao subiu: %d", err);
	}

	/* Observar **depois** de inicializar, e varrer em seguida. O contrato
	 * do card sugere a ordem inversa, para receber a transição inicial,
	 * mas aqui ela faria a biblioteca ser varrida duas vezes no boot: uma
	 * pelo observador, dentro de card_init, e outra pela varredura
	 * explícita — que não pode faltar, porque no simulador o cartão nunca
	 * transita e quem responde é a implementação de mentira.
	 *
	 * A ordem não abre janela: o monitor dorme 250 ms antes da primeira
	 * sondagem, e qualquer transição depois de card_observe chega ao
	 * observador. No pior caso, uma varredura a mais.
	 */
	card_observe(card_changed);
	(void)library_refresh();
}

#if defined(VITROLINHA_HAS_PLAYER)
/**
 * @brief Põe loader, saída e player de pé, na ordem que o player.h pede.
 *
 * Na placa a saída é o buzzer. No simulador é a captura do
 * @ref playback_trace.h, aberta aqui e nunca fechada: comporta
 * PLAYBACK_TRACE_CAPACITY trocas de tom por sessão. Esgotada, o player
 * recebe -ENOSPC da saída e para a faixa — o limite é da bancada, não do
 * player.
 *
 * Falha aqui não derruba o `main`: a tela continua listando a biblioteca.
 *
 * O player lê a biblioteca a cada comando (library.h), e por isso não
 * recebe a contagem: um cartão inserido depois do boot já vale para ele.
 */
static void playback_start(void)
{
	int err;

	err = loader_init();
	if (err != 0) {
		LOG_ERR("Loader nao subiu: %d", err);
		return;
	}

	err = tone_init();
	if (err != 0) {
		LOG_ERR("Saida de tom nao subiu: %d", err);
		return;
	}

#if defined(VITROLINHA_HAS_TRACE)
	/* O mesmo relógio que o tone_trace usa para cada registro. */
	err = playback_trace_begin(k_cyc_to_us_floor64(k_cycle_get_64()));
	if (err != 0) {
		LOG_ERR("Captura nao abriu: %d", err);
		return;
	}
#endif

	err = player_init();
	if (err != 0) {
		LOG_ERR("Player nao subiu: %d", err);
	}
}
#endif

int main(void)
{
	int err;

	LOG_INF("Vitrolinha %s em " CONFIG_BOARD_TARGET, APP_VERSION_STRING);

	err = heartbeat_init();
	if (err != 0) {
		return err;
	}

	card_start();

	/* Depois do cartão: a lista da tela sai da varredura do volume montado. */
	err = display_init();
	if (err != 0) {
		return err;
	}

#if defined(VITROLINHA_HAS_PLAYER)
	playback_start();
#endif

#if defined(CONFIG_VITROLINHA_LAST_TRACK)
	/* Depois do player, que é quem recebe a faixa lembrada. */
	err = last_track_init();
	if (err != 0) {
		LOG_ERR("Settings nao subiu: %d", err);
	}
	restore_last_track();
	last_track_start();
#endif

#if defined(CONFIG_VITROLINHA_STATUS_LED)
	err = status_led_init();
	if (err != 0) {
		LOG_ERR("LEDs de estado nao subiram: %d", err);
	}
#endif

	LOG_INF("Vitrolinha no ar. LED de sinal de vida piscando.");

	while (true) {
		(void)gpio_pin_toggle_dt(&heartbeat);
		k_sleep(HEARTBEAT_PERIOD);
	}

	return 0;
}
```

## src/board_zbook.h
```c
/**
 * @file board_zbook.h
 * @brief Verificações de compilação específicas da ZBook P2.
 *
 * Incluído apenas quando o alvo é a placa física. Existe como cabeçalho
 * separado para que o alvo de simulação, que não tem nenhum destes nós, não
 * precise de `#if` espalhado pelo código da aplicação.
 *
 * As duas famílias de verificação aqui cobrem as duas maneiras de o build
 * sair errado sem emitir erro.
 */

#ifndef VITROLINHA_BOARD_ZBOOK_H_
#define VITROLINHA_BOARD_ZBOOK_H_

#include <zephyr/devicetree.h>
#include <zephyr/toolchain.h>

/*
 * 1. Revisão da placa.
 *
 * O board.yml da ZBook declara `default: p2`, mas o campo é ignorado em
 * placas de formato `custom`, e o revision.cmake recai em `p1`. Compilar sem
 * o sufixo @p2 produz um binário para uma placa sem encoder e sem tela.
 *
 * O CMakeLists rejeita o alvo errado antes de compilar; estes BUILD_ASSERT
 * pegam o caso de alguém chegar ao build por outro caminho, como um IDE que
 * monte a linha de comando sozinho. Os três nós só existem na revisão P2.
 */
BUILD_ASSERT(DT_NODE_EXISTS(DT_NODELABEL(encoder_qdec)),
	     "Sem encoder no devicetree: compile com -b zbook@p2/rp2350b/m33 "
	     "(o sufixo @p2 e obrigatorio).");
BUILD_ASSERT(DT_NODE_EXISTS(DT_NODELABEL(enc_button)),
	     "Sem clique de encoder no devicetree: falta o sufixo @p2.");
BUILD_ASSERT(DT_HAS_CHOSEN(zephyr_display),
	     "Sem chosen zephyr,display: falta o sufixo @p2.");

/*
 * 2. Sobreposição da aplicação.
 *
 * Um arquivo em boards/ só é aplicado se o nome casar exatamente com a
 * string de build montada a partir de placa, qualificadores e revisão, e
 * errar o nome não gera aviso nenhum. Sem estas duas verificações, o
 * firmware compilaria com o I²C a 100 kHz e com o cartão sempre "presente".
 */
BUILD_ASSERT(DT_PROP(DT_NODELABEL(i2c0), clock_frequency) == 400000,
	     "boards/zbook_rp2350b_m33_p2.overlay nao foi aplicado: "
	     "i2c0 ainda esta em 100 kHz.");
BUILD_ASSERT(DT_NODE_HAS_PROP(DT_NODELABEL(sdhc0), cd_gpios),
	     "boards/zbook_rp2350b_m33_p2.overlay nao foi aplicado: "
	     "sdhc0 esta sem cd-gpios.");

#endif /* VITROLINHA_BOARD_ZBOOK_H_ */
```

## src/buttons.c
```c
/**
 * @file buttons.c
 * @brief Botões de transporte: cada aperto vira um comando na fila do player.
 *
 * É a metade `input` da arquitetura: escuta o subsistema `input` do Zephyr e
 * publica em @ref cmd.h, sem nunca falar com o player diretamente. O encoder
 * não passa por aqui — o clique dele é `INPUT_KEY_ENTER`, do LVGL, e os
 * botões são `INPUT_BTN_0..3`.
 *
 * A ordem física, da esquerda para a direita, é a numérica: BTN_0 é o botão
 * 1 da placa, e assim por diante — identificada na bancada (issue #27), já
 * que o P2 não tem serigrafia. A tabela segue a especificação: anterior,
 * tocar/pausar, seguinte e alternar telas. Todo aperto sai no console com o
 * código, para conferir.
 *
 * O botão ::DISPLAY_TOGGLE_BUTTON também passa por aqui, mas não é
 * transporte: alterna as telas, e quem o atende é o `display_ui.c`. Este
 * módulo só o registra no console.
 *
 * Não há botão de reiniciar: no fim da faixa, tocar/pausar já recomeça do
 * início, e clicar de novo a faixa na biblioteca também.
 */

#include <vitrolinha/cmd.h>
#include <vitrolinha/display.h>

#include <zephyr/device.h>
#include <zephyr/input/input.h>
#include <zephyr/logging/log.h>
#include <zephyr/sys/util.h>

LOG_MODULE_REGISTER(buttons, LOG_LEVEL_INF);

/** @brief Botão que não publica comando: o de alternar telas. */
#define BUTTON_NO_CMD CMD_KIND_COUNT

/** @brief Comando de cada botão, indexado por `código - INPUT_BTN_0`. */
static const enum cmd_kind button_map[] = {
	CMD_PREV,       /* INPUT_BTN_0, botão 1: anterior */
	CMD_PLAY_PAUSE, /* INPUT_BTN_1, botão 2: tocar/pausar */
	CMD_NEXT,       /* INPUT_BTN_2, botão 3: seguinte */
	BUTTON_NO_CMD,  /* INPUT_BTN_3, botão 4: alterna as telas, no display_ui.c */
};

/* A linha sem comando da tabela tem de ser a do botão que o display atende;
 * mudar um sem o outro deixaria um botão mudo, ou fazendo duas coisas.
 */
BUILD_ASSERT(DISPLAY_TOGGLE_BUTTON == INPUT_BTN_3,
	     "button_map: mova BUTTON_NO_CMD para a linha de DISPLAY_TOGGLE_BUTTON");

/**
 * @brief Publica o comando de um botão apertado.
 *
 * Nunca bloqueia: @ref cmd_post descarta com fila cheia.
 */
static void button_pressed(uint16_t code)
{
	size_t index = (size_t)(code - INPUT_BTN_0);
	enum cmd_kind kind = button_map[index];
	int err;

	LOG_INF("Botao %zu apertado", index);

	if (kind == BUTTON_NO_CMD) {
		return;
	}

	err = cmd_post(kind, TRACK_NONE);
	if (err != 0) {
		LOG_WRN("Comando do botao %zu descartado: %d", index, err);
	}
}

/**
 * @brief Recebe todo evento de entrada e fica só com os apertos de botão.
 *
 * Soltar o botão não faz nada: o comando sai na borda de descida, que é a
 * que o dedo sente como "apertei".
 */
static void buttons_cb(struct input_event *evt, void *user_data)
{
	ARG_UNUSED(user_data);

	if ((evt->type != INPUT_EV_KEY) || (evt->value == 0)) {
		return;
	}

	if ((evt->code < INPUT_BTN_0) || (evt->code >= (INPUT_BTN_0 + ARRAY_SIZE(button_map)))) {
		return;
	}

	button_pressed(evt->code);
}

INPUT_CALLBACK_DEFINE(NULL, buttons_cb, NULL);
```
